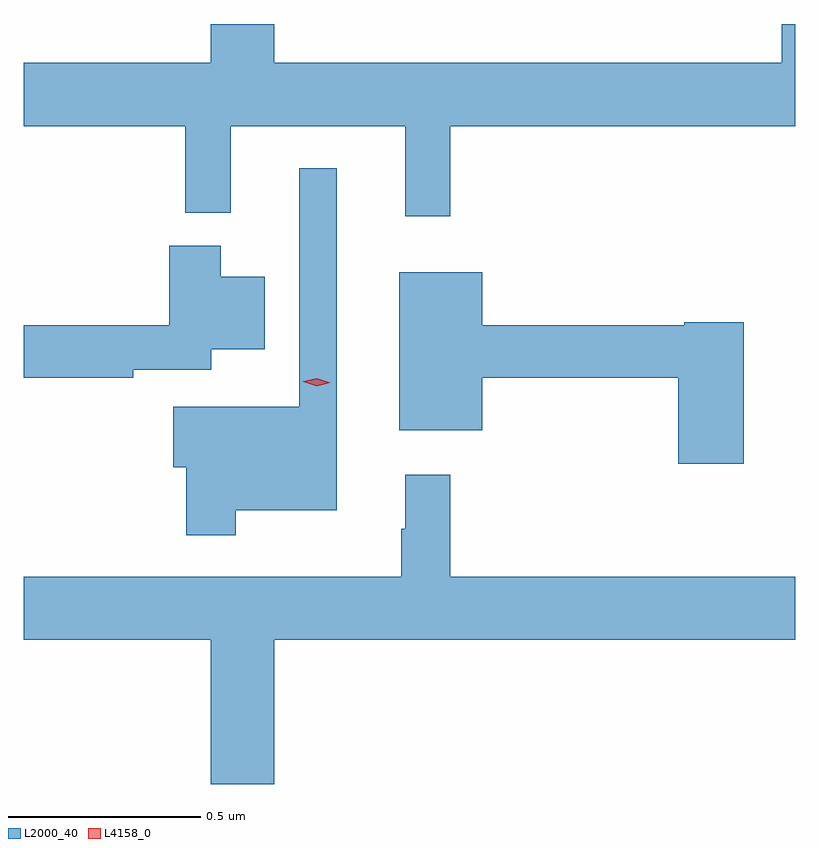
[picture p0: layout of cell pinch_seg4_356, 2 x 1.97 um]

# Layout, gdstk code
import gdstk
lib = gdstk.Library(unit=1e-6, precision=1e-09)
def P(c, l, *ps):  # polygons
    for p in ps: c.add(gdstk.Polygon(p, *l))
L2000_40 = (2000, 40)
L4158_0 = (4158, 0)

pinch_seg4_356 = lib.new_cell('pinch_seg4_356')
P(pinch_seg4_356, L2000_40, [(992.801,803.48),(993.695,803.48),(993.695,803.745),(993.66,803.745),(993.66,803.644),(992.344,803.644),(992.344,803.745),(992.18,803.745),(992.18,803.644),(991.695,803.644),(991.695,803.48),(992.113,803.48),(992.113,803.255),(992.231,803.255),(992.231,803.48),(992.684,803.48),(992.684,803.247),(992.801,803.247)],
  [(992.245,802.484),(992.506,802.484),(992.506,803.371),(992.409,803.371),(992.409,802.753),(992.082,802.753),(992.082,802.595),(992.116,802.595),(992.116,802.419),(992.245,802.419)],
  [(991.978,802.848),(992.181,802.848),(992.181,802.901),(992.32,802.901),(992.32,803.089),(992.206,803.089),(992.206,803.17),(992.072,803.17),(992.072,802.964),(991.695,802.964),(991.695,802.828),(991.978,802.828)],
  [(993.562,802.972),(993.408,802.972),(993.408,802.964),(992.884,802.964),(992.884,803.101),(992.669,803.101),(992.669,802.691),(992.884,802.691),(992.884,802.828),(993.392,802.828),(993.392,802.605),(993.562,802.605)],
  [(992.344,802.148),(993.695,802.148),(993.695,802.312),(992.801,802.312),(992.801,802.576),(992.684,802.576),(992.684,802.436),(992.673,802.436),(992.673,802.312),(991.695,802.312),(991.695,802.148),(992.18,802.148),(992.18,801.774),(992.344,801.774)])
P(pinch_seg4_356, L4158_0, [(992.454,802.806),(992.42,802.817),(992.419,802.818),(992.42,802.818),(992.455,802.826),(992.49,802.815),(992.49,802.815),(992.49,802.815)])

lib.write_gds('pinch_seg4_356.gds')
